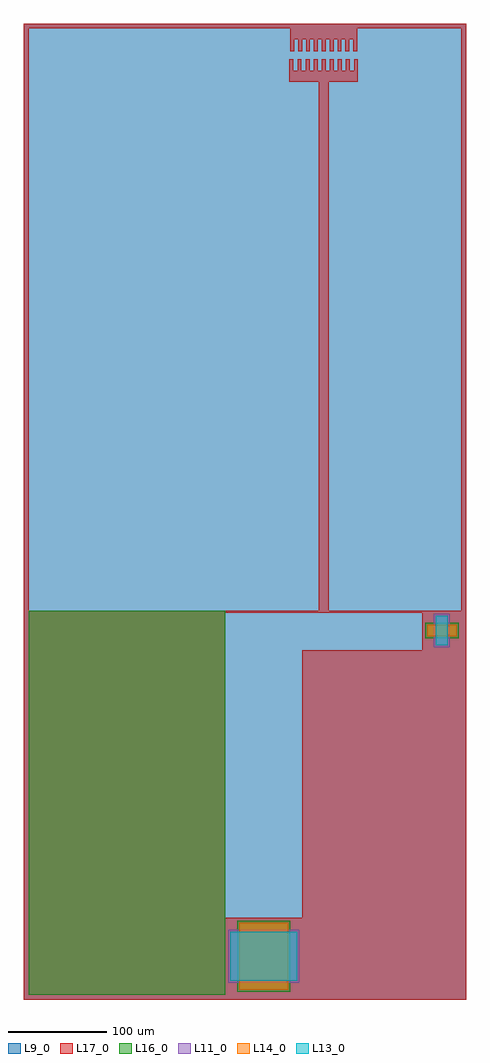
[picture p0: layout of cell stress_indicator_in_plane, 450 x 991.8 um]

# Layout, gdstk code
import gdstk
lib = gdstk.Library(unit=1e-6, precision=1e-09)
def R(c, l, rs):  # rectangles x0, y0, x1, y1
    for r in rs: c.add(gdstk.rectangle(r[:2], r[2:], *l))
def A(c, l, x, y, w, h, nx, ny, dx, dy):  # array of equal rectangles
    R(c, l, [(x+i*dx, y+j*dy, x+i*dx+w, y+j*dy+h) for i in range(nx) for j in range(ny)])
L9_0 = (9, 0)
L11_0 = (11, 0)
L13_0 = (13, 0)
L14_0 = (14, 0)
L16_0 = (16, 0)
L17_0 = (17, 0)

stress_indicator_in_plan = lib.new_cell('stress_indicator_in_plane')
R(stress_indicator_in_plan, L9_0, [(0,0,440,390), (200,0,278,78), (400,350,440,390), (0,390,440,981.8), (265,927.7,334.8,981.8)])
R(stress_indicator_in_plan, L11_0, [(203.2,12,275.2,66), (412,353.2,428,387.2)])
R(stress_indicator_in_plan, L13_0, [(205.2,14,273.2,64), (414,355.2,426,385.2)])
R(stress_indicator_in_plan, L14_0, [(214,5,264,73), (405,364,435,376)])
R(stress_indicator_in_plan, L16_0, [(0,0,200,390), (212,3,266,75), (403,362,437,378)])
A(stress_indicator_in_plan, L17_0, 265.2, 938.7, 4, 12, 9, 1, 8.2, 0)
A(stress_indicator_in_plan, L17_0, 266, 958.8, 4, 12, 9, 1, 8, 0)
R(stress_indicator_in_plan, L17_0, [(0,0,200,390), (200,0,278,78), (278,0,440,350), (400,350,440,390), (200,388,400,390), (295,390,305,927.7), (265,927.7,334.8,938.7), (266,970.8,334,981.8)])
stress_indicator_in_plan.add(gdstk.FlexPath([(442.5,984.3),(442.5,-2.5)], 5, ends="extended", simple_path=True, layer=17, datatype=0))  # L17_0
stress_indicator_in_plan.add(gdstk.FlexPath([(-2.5,984.3),(442.5,984.3)], 5, ends="extended", simple_path=True, layer=17, datatype=0))  # L17_0
stress_indicator_in_plan.add(gdstk.FlexPath([(-2.5,-2),(-2.5,984.3)], 5, ends=(0, 2.5), simple_path=True, layer=17, datatype=0))  # L17_0
stress_indicator_in_plan.add(gdstk.FlexPath([(442.5,-2.5),(-2.5,-2.5)], 5, ends="extended", simple_path=True, layer=17, datatype=0))  # L17_0
stress_indicator_in_plan.add(gdstk.FlexPath([(442.5,984.3),(442.5,-2.5)], 5, ends="extended", simple_path=True, layer=9, datatype=0))  # L9_0
stress_indicator_in_plan.add(gdstk.FlexPath([(442.5,-2.5),(-2.5,-2.5)], 5, ends="extended", simple_path=True, layer=9, datatype=0))  # L9_0
stress_indicator_in_plan.add(gdstk.FlexPath([(-2.5,984.3),(442.5,984.3)], 5, ends="extended", simple_path=True, layer=9, datatype=0))  # L9_0
stress_indicator_in_plan.add(gdstk.FlexPath([(-2.5,-2),(-2.5,984.3)], 5, ends=(0, 2.5), simple_path=True, layer=9, datatype=0))  # L9_0

lib.write_gds('stress_indicator_in_plane.gds')
